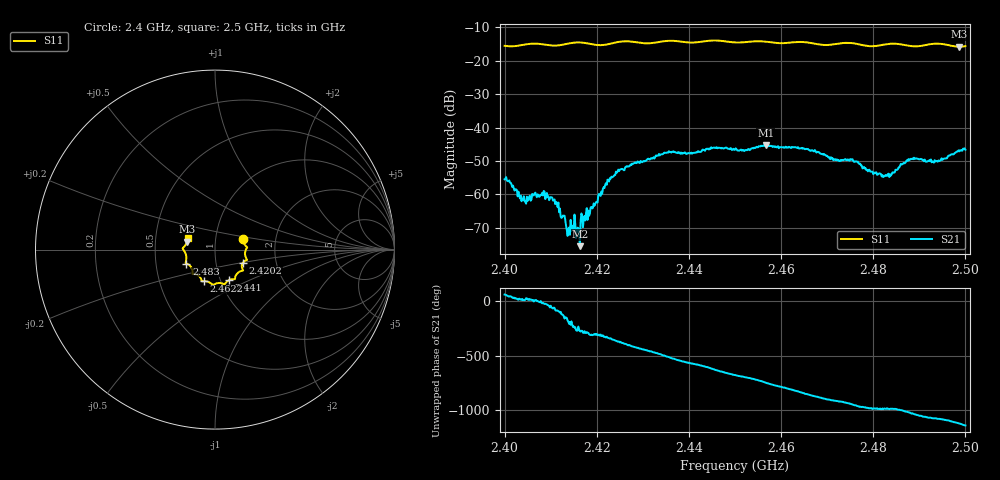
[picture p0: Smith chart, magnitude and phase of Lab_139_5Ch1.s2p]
# Hz S RI R 50
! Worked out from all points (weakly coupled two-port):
!   601 points, 2.4 GHz to 2.5 GHz, reference 50 ohm
!   highest |S21| = -45.17 dB at 2.4567 GHz (marker M1); lowest = -75.5 dB at 2.4163 GHz (marker M2)
!   lowest |S11| = -15.8 dB at 2.4987 GHz (marker M3), VSWR 1.39, Z = 36.4 + j3.33 ohm
!   |S11| at or under -10 dB: start of sweep to end of sweep
!   S12 and S22 are empty: the file has one direction only
!   S11 on the Smith chart (normalised r, x): 2.4 GHz: 1.36, +0.17; 2.4202 GHz: 1.35, -0.20; 2.441 GHz: 1.09, -0.39; 2.4622 GHz: 0.83, -0.30; 2.483 GHz: 0.72, -0.12; 2.5 GHz: 0.73, +0.10
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2.4e9  0.1561 0.0599  0.00089 0.00143  0 0  0 0
2.404167e9  0.1725 0.0185  0.000925 0.000167  0 0  0 0
2.410333e9  0.1683 -0.0113  0.000386 -0.000808  0 0  0 0
2.413667e9  0.1737 -0.0473  -0.00024 -4.86e-06  0 0  0 0
2.414833e9  0.1776 -0.0541  -0.000159 0.000259  0 0  0 0
2.415833e9  0.179 -0.057  4.66e-06 0.000318  0 0  0 0
2.416333e9  0.1786 -0.0577  2.05e-05 0.000167  0 0  0 0
2.416667e9  0.1777 -0.0582  2.72e-05 0.000519  0 0  0 0
2.420167e9  0.1558 -0.0719  0.000444 0.000612  0 0  0 0
2.424667e9  0.155 -0.1115  0.0023 -0.0005  0 0  0 0
2.433333e9  0.1128 -0.1524  -0.00206 -0.00321  0 0  0 0
2.441e9  0.0765 -0.1706  -0.00338 0.00247  0 0  0 0
2.45e9  0.0264 -0.1859  0.00343 0.00317  0 0  0 0
2.456667e9  -0.0167 -0.192  0.00491 -0.00252  0 0  0 0
2.462167e9  -0.0637 -0.1761  5.09e-05 -0.00495  0 0  0 0
2.466667e9  -0.0763 -0.1666  -0.00373 -0.0027  0 0  0 0
2.483e9  -0.1592 -0.078  -0.000277 0.00187  0 0  0 0
2.483333e9  -0.1608 -0.0774  -0.000111 0.00204  0 0  0 0
2.487833e9  -0.1593 -0.0501  0.00168 0.0028  0 0  0 0
2.494e9  -0.1799 0.00692  0.00309 0.000141  0 0  0 0
2.498667e9  -0.1555 0.0446  0.0033 -0.00293  0 0  0 0
2.5e9  -0.1526 0.0634  0.00244 -0.00397  0 0  0 0
